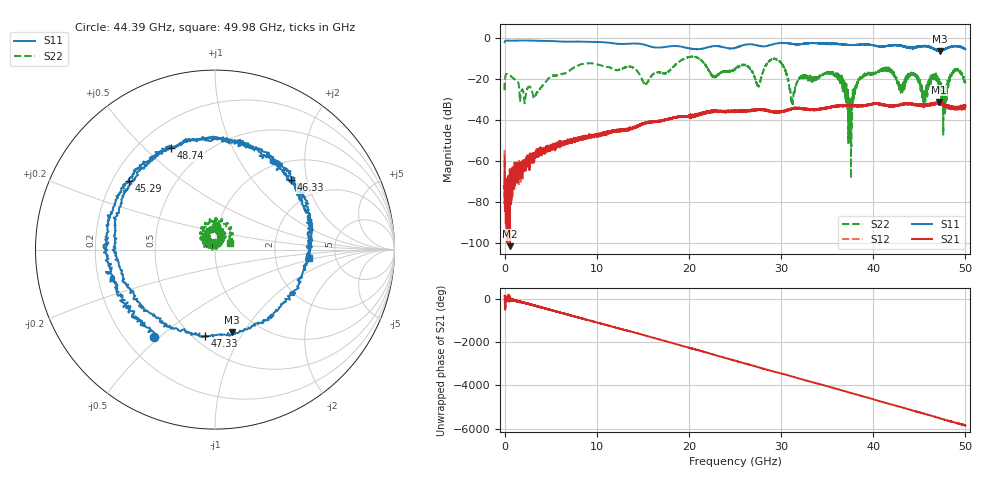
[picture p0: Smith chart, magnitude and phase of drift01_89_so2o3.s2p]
!Created with skrf (http://scikit-rf.org).
# Hz S RI R 50.0
!freq ReS11 ImS11 ReS21 ImS21 ReS12 ImS12 ReS22 ImS22
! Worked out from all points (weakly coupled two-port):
!   10001 points, 300 kHz to 50 GHz, reference 50 ohm
!   highest |S21| = -31.40 dB at 47.09 GHz (marker M1); lowest = -101.7 dB at 590.3 MHz (marker M2)
!   lowest |S11| = -6.6 dB at 47.22 GHz (marker M3), VSWR 2.77, Z = 37.6 - j44.4 ohm
!   |S11| at or under -10 dB: nowhere
!   |S22| runs from -68.6 to -9.2 dB; largest |S21 - S12| = 0.0041
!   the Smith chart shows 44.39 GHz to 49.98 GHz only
!   S11 on the Smith chart (normalised r, x): 44.39 GHz: 0.32, -0.48; 45.29 GHz: 0.26, +0.33; 46.33 GHz: 1.39, +1.62; 47.33 GHz: 0.57, -0.72; 48.74 GHz: 0.33, +0.60; 49.98 GHz: 3.17, -0.42
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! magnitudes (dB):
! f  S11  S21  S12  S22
! 300 kHz  -2.2  -57.8  -54.7  -22.1
! 590.3 MHz  -1.5  -101.7  -68.0  -18.5
! 3.29 GHz  -1.5  -57.3  -56.8  -28.8
! 8.335 GHz  -1.9  -49.3  -49.2  -12.9
! 16.67 GHz  -4.8  -40.6  -40.7  -16.7
! 25 GHz  -5.0  -35.9  -35.8  -15.4
! 29.59 GHz  -2.8  -36.3  -36.3  -10.6
! 31.24 GHz  -3.0  -34.6  -34.5  -32.0
! 33.34 GHz  -2.6  -35.1  -34.9  -20.0
! 36.07 GHz  -2.9  -33.3  -33.4  -18.9
! 37.47 GHz  -3.6  -33.0  -33.1  -40.0
! 38.66 GHz  -3.4  -33.3  -33.2  -20.0
! 41.67 GHz  -3.9  -32.9  -33.3  -16.0
! 44.39 GHz  -4.6  -32.5  -32.6  -17.8
! 45.29 GHz  -4.2  -33.2  -33.0  -27.5
! 46.33 GHz  -4.8  -32.0  -32.2  -19.5
! 47.09 GHz  -6.5  -31.4  -32.2  -21.9
! 47.22 GHz  -6.6  -32.4  -31.6  -24.4
! 47.33 GHz  -6.3  -32.2  -32.5  -22.3
! 48.74 GHz  -4.2  -34.1  -34.6  -16.2
! 49.98 GHz  -5.6  -33.2  -33.4  -21.0
! 50 GHz  -5.5  -32.8  -34.0  -21.3
